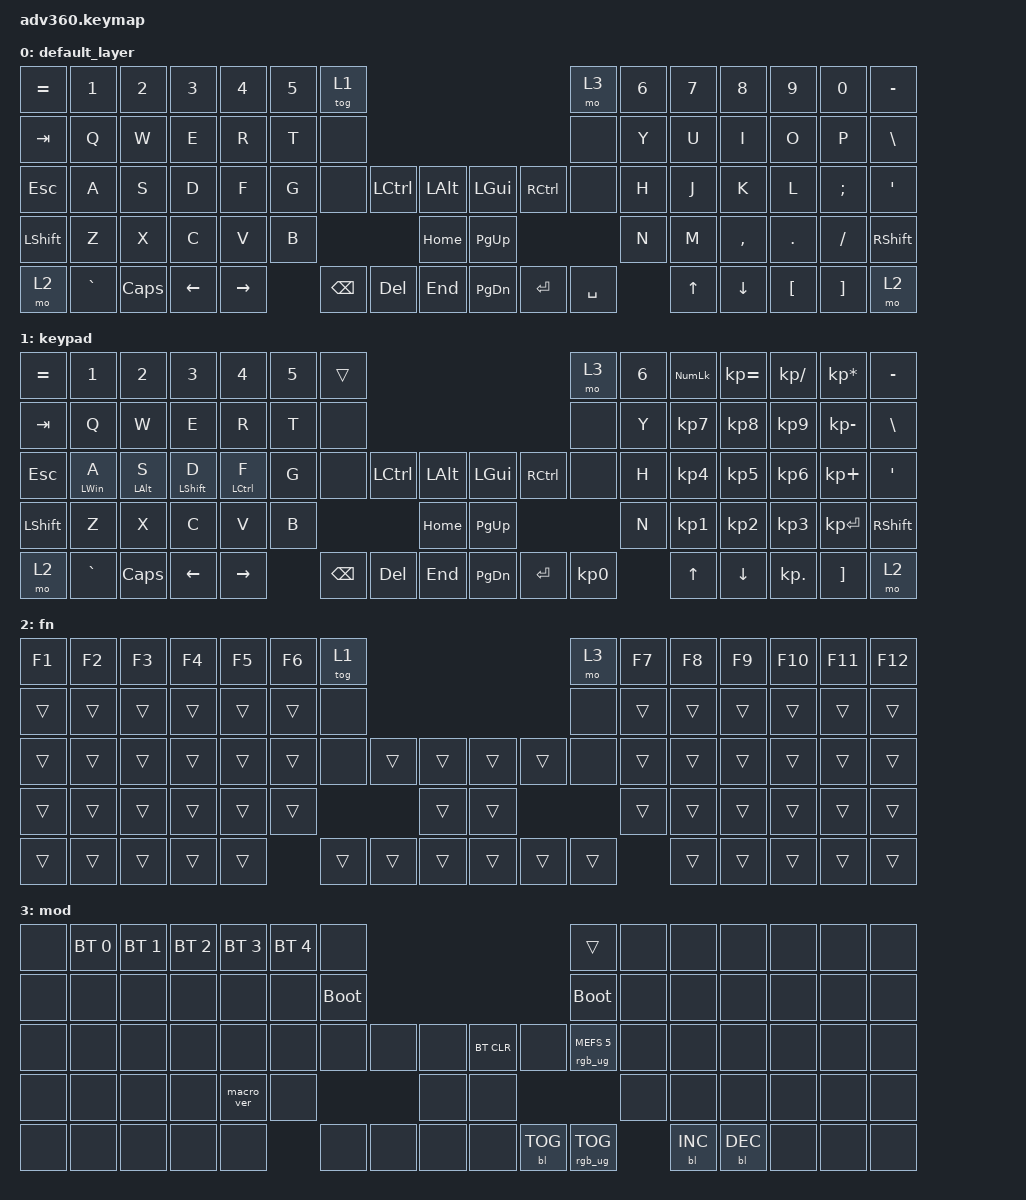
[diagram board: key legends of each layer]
#include <behaviors.dtsi>
#include <dt-bindings/zmk/backlight.h>
#include <dt-bindings/zmk/bt.h>
#include <dt-bindings/zmk/keys.h>
#include <dt-bindings/zmk/rgb.h>

/ {
    behaviors {
        #include "macros.dtsi"
      #include "version.dtsi"
      #ifndef VERSION_MACRO

        macro_ver: macro_ver {
            compatible = "zmk,behavior-macro";
            label = "macro_version";
            #binding-cells = <0>;
            bindings = <&kp RET>;
        };

        #endif

        hm: homerow_mods {
            compatible = "zmk,behavior-hold-tap";
            label = "HOMEROW_MODS";
            #binding-cells = <2>;
            tapping-term-ms = <200>;
            quick_tap_ms = <175>;
            flavor = "tap-preferred";
            bindings = <&kp>, <&kp>;
        };

        hrml: hrml {
            compatible = "zmk,behavior-hold-tap";
            label = "HRML";
            bindings = <&kp>, <&kp>;

            #binding-cells = <2>;
            tapping-term-ms = <250>;
            hold-trigger-key-positions = <7 8 9 10 11 12 13 21 22 23 24 25 26 27 39 40 41 42 43 44 45 54 55 56 57 58 59 71 72 73 74 75 37 38 53 68 69 70 71>;
        };

        hrmr: hrmr {
            compatible = "zmk,behavior-hold-tap";
            label = "HRMR";
            bindings = <&none>, <&none>;

            #binding-cells = <2>;
            hold-trigger-key-positions = <0 1 2 3 4 5 6 14 15 16 17 18 19 20 28 29 30 31 32 33 34 35 36 46 47 48 49 50 51 52 60 61 62 63 64 65 66 67>;
            tapping-term-ms = <250>;
        };
    };

    macros {
    };

    keymap {
        compatible = "zmk,keymap";

        default_layer {
            bindings = <
&kp EQUAL  &kp N1     &kp N2    &kp N3    &kp N4     &kp N5  &tog 1                                                   &mo 3      &kp N6  &kp N7  &kp N8     &kp N9    &kp N0    &kp MINUS
&kp TAB    &kp Q      &kp W     &kp E     &kp R      &kp T   &none                                                    &none      &kp Y   &kp U   &kp I      &kp O     &kp P     &kp BSLH
&kp ESC    &kp A      &kp S     &kp D     &kp F      &kp G   &none     &kp LCTRL  &kp LALT      &kp LGUI   &kp RCTRL  &none      &kp H   &kp J   &kp K      &kp L     &kp SEMI  &kp SQT
&kp LSHFT  &kp Z      &kp X     &kp C     &kp V      &kp B                        &kp HOME      &kp PG_UP                        &kp N   &kp M   &kp COMMA  &kp DOT   &kp FSLH  &kp RSHFT
&mo 2      &kp GRAVE  &kp CAPS  &kp LEFT  &kp RIGHT          &kp BSPC  &kp DEL    &kp END       &kp PG_DN  &kp ENTER  &kp SPACE          &kp UP  &kp DOWN   &kp LBKT  &kp RBKT  &mo 2
            >;
        };

        keypad {
            bindings = <
&kp EQUAL  &kp N1            &kp N2            &kp N3              &kp N4                &kp N5  &trans                                                   &mo 3      &kp N6  &kp KP_NUM  &kp KP_EQUAL  &kp KP_DIVIDE  &kp KP_MULTIPLY  &kp MINUS
&kp TAB    &kp Q             &kp W             &kp E               &kp R                 &kp T   &none                                                    &none      &kp Y   &kp KP_N7   &kp KP_N8     &kp KP_N9      &kp KP_MINUS     &kp BSLH
&kp ESC    &hrml LEFT_WIN A  &hrml LEFT_ALT S  &hrml LEFT_SHIFT D  &hrml LEFT_CONTROL F  &kp G   &none     &kp LCTRL  &kp LALT      &kp LGUI   &kp RCTRL  &none      &kp H   &kp KP_N4   &kp KP_N5     &kp KP_N6      &kp KP_PLUS      &kp SQT
&kp LSHFT  &kp Z             &kp X             &kp C               &kp V                 &kp B                        &kp HOME      &kp PG_UP                        &kp N   &kp KP_N1   &kp KP_N2     &kp KP_N3      &kp KP_ENTER     &kp RSHFT
&mo 2      &kp GRAVE         &kp CAPS          &kp LEFT            &kp RIGHT                     &kp BSPC  &kp DEL    &kp END       &kp PG_DN  &kp ENTER  &kp KP_N0          &kp UP      &kp DOWN      &kp KP_DOT     &kp RBKT         &mo 2
            >;
        };

        fn {
            bindings = <
&kp F1  &kp F2  &kp F3  &kp F4  &kp F5  &kp F6  &tog 1                                      &mo 3   &kp F7  &kp F8  &kp F9  &kp F10  &kp F11  &kp F12
&trans  &trans  &trans  &trans  &trans  &trans  &none                                       &none   &trans  &trans  &trans  &trans   &trans   &trans
&trans  &trans  &trans  &trans  &trans  &trans  &none   &trans  &trans      &trans  &trans  &none   &trans  &trans  &trans  &trans   &trans   &trans
&trans  &trans  &trans  &trans  &trans  &trans                  &trans      &trans                  &trans  &trans  &trans  &trans   &trans   &trans
&trans  &trans  &trans  &trans  &trans          &trans  &trans  &trans      &trans  &trans  &trans          &trans  &trans  &trans   &trans   &trans
            >;
        };

        mod {
            bindings = <
&none  &bt BT_SEL 0  &bt BT_SEL 1  &bt BT_SEL 2  &bt BT_SEL 3  &bt BT_SEL 4  &none                                                  &trans                  &none  &none       &none       &none  &none  &none
&none  &none         &none         &none         &none         &none         &bootloader                                            &bootloader             &none  &none       &none       &none  &none  &none
&none  &none         &none         &none         &none         &none         &none        &none  &none      &bt BT_CLR  &none       &rgb_ug RGB_MEFS_CMD 5  &none  &none       &none       &none  &none  &none
&none  &none         &none         &none         &macro_ver    &none                             &none      &none                                           &none  &none       &none       &none  &none  &none
&none  &none         &none         &none         &none                       &none        &none  &none      &none       &bl BL_TOG  &rgb_ug RGB_TOG                &bl BL_INC  &bl BL_DEC  &none  &none  &none
            >;
        };
    };
};
